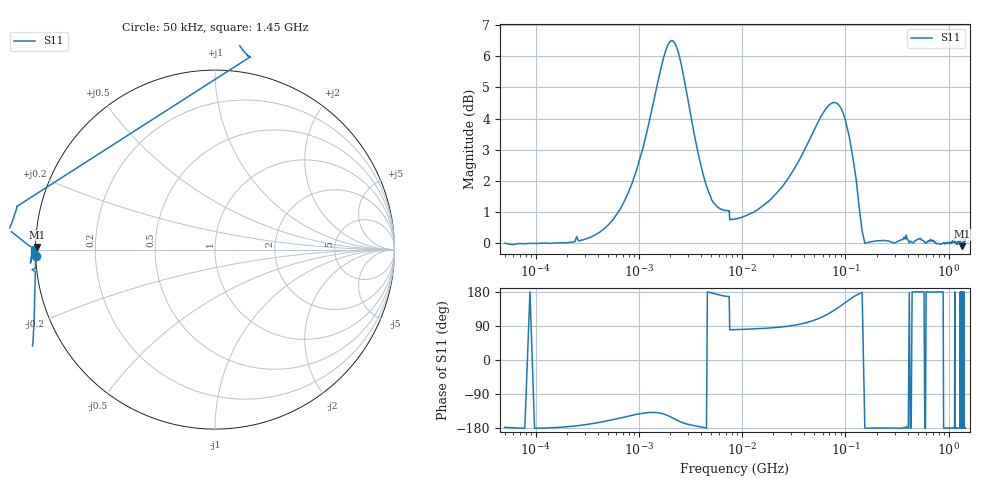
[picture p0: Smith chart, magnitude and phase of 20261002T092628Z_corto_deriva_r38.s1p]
! piloto_deriva / corto_deriva / r38
# HZ S RI R 50
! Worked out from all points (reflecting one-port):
!   501 points, 50 kHz to 1.45 GHz, reference 50 ohm
!   lowest |S11| = -0.1 dB at 1.355 GHz (marker M1), VSWR 186.90, Z = 0.268 + j0.361 ohm
!   phase of S11 starts at -178 deg and turns -2 deg over the sweep
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50000  -0.9994 -0.0382
183000  -1.001 -0.0517
373000  -1.004 -0.2333
658000  -1.013 -0.5103
1180000  -1.135 -0.9768
1630000  -1.473 -1.21
1990000  -1.807 -1.081
2170000  -1.899 -0.9143
2440000  -1.902 -0.6433
3070000  -1.632 -0.2682
4330000  -1.262 -0.0309
7300000  -1.101 0.2418
7750000  0.1951 1.076
8560000  0.1876 1.078
1.9e7  0.1093 1.172
3.16e7  -0.0341 1.312
4.69e7  -0.3231 1.453
6.76e7  -0.8604 1.418
7.93e7  -1.139 1.237
9.37e7  -1.354 0.8987
9.82e7  -1.386 0.7845
1e8  -1.39 0.7391
1.18e8  -1.329 0.339
1.36e8  -1.134 0.0996
1.63e8  -1.002 -0.00319
4.06e8  -1.012 -0.00328
1.3555e9  -0.9893 0.0143
1.45e9  -1.009 -0.00598
